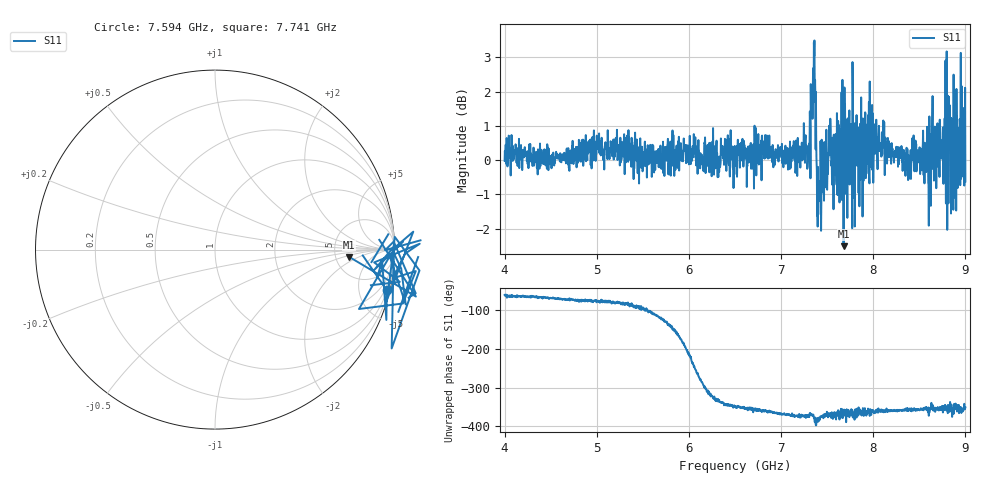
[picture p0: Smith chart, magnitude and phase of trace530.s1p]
! Created with skrf 1.8.0 (http://scikit-rf.org).
# Hz S RI R 50.0
!freq ReS11 ImS11
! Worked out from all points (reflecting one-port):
!   1601 points, 4 GHz to 9 GHz, reference 50 ohm
!   lowest |S11| = -2.5 dB at 7.678 GHz (marker M1), VSWR 6.97, Z = 337 - j62.7 ohm
!   phase of S11 starts at -61 deg and turns -290 deg over the sweep
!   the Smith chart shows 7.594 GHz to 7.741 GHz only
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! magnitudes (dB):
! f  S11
! 4 GHz  0.0
! 4.625 GHz  0.0
! 5.25 GHz  -0.2
! 5.875 GHz  0.4
! 6.403 GHz  0.5
! 6.5 GHz  0.0
! 6.556 GHz  0.3
! 7.125 GHz  0.3
! 7.294 GHz  0.0
! 7.347 GHz  2.7
! 7.362 GHz  3.5
! 7.412 GHz  -0.6
! 7.541 GHz  0.2
! 7.591 GHz  0.8
! 7.678 GHz  -2.5
! 7.75 GHz  0.1
! 7.775 GHz  2.9
! 7.928 GHz  0.3
! 8.119 GHz  1.1
! 8.375 GHz  -0.2
! 8.441 GHz  -0.1
! 8.581 GHz  0.1
! 8.631 GHz  0.7
! 8.766 GHz  0.6
! 8.809 GHz  1.8
! 8.869 GHz  -1.4
! 8.959 GHz  2.2
! 9 GHz  -0.6
